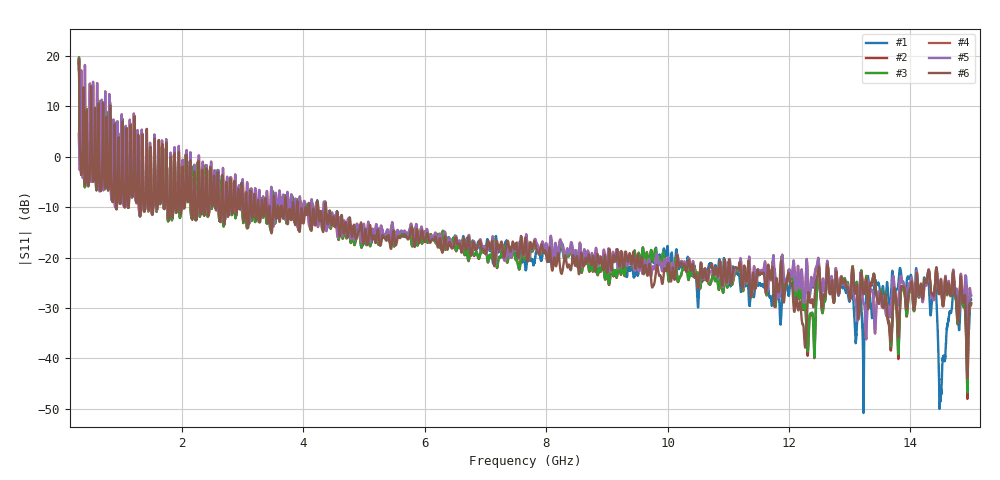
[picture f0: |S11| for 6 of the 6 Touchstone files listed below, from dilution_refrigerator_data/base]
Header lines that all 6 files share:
# GHZ S RI R 50.0
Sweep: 300 MHz to 15 GHz
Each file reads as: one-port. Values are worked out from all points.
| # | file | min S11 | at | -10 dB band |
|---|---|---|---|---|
| 1 | port1_base_repeat1.s1p | -50.8 dB | 13.23 GHz | over 10.63 GHz wide |
| 2 | port2_base.s1p | -48.0 dB | 14.94 GHz | over 10.64 GHz wide |
| 3 | port2_base_repeat1.s1p | -46.8 dB | 14.94 GHz | over 10.64 GHz wide |
| 4 | port5_base.s1p | -36.2 dB | 13.27 GHz | over 10.65 GHz wide |
| 5 | port5_base_repeat1.s1p | -36.1 dB | 13.27 GHz | over 10.65 GHz wide |
| 6 | port6_base_repeat1.s1p | -44.0 dB | 14.94 GHz | over 10.63 GHz wide |
